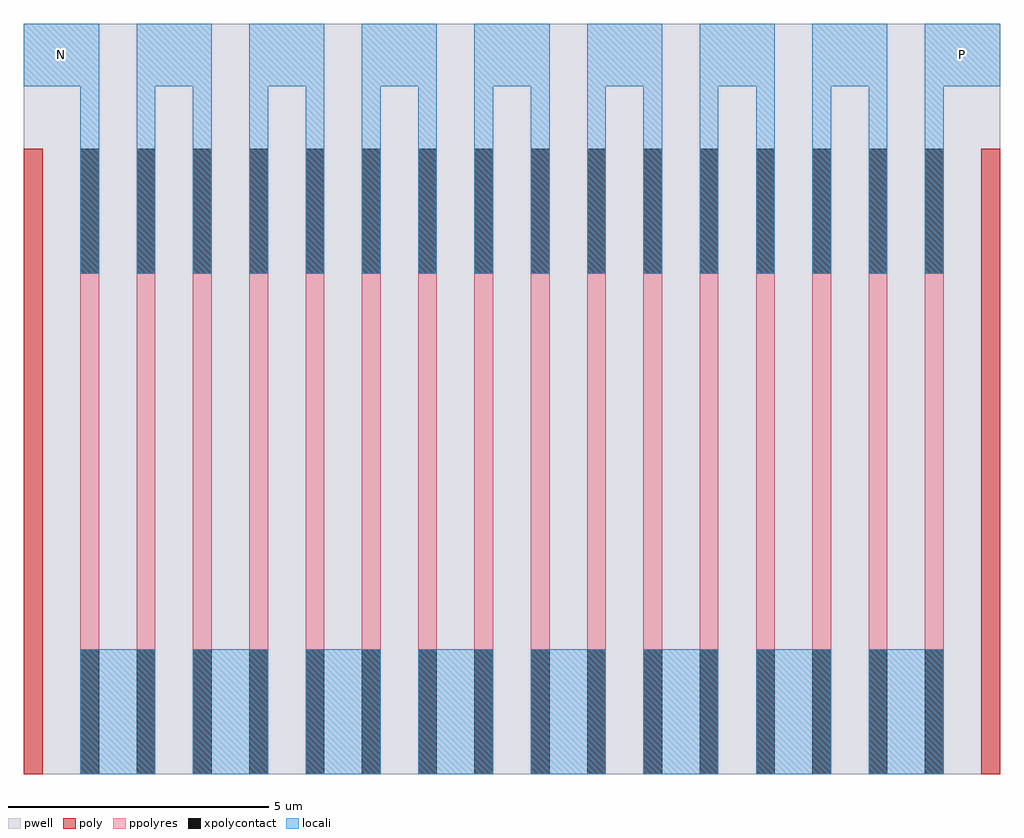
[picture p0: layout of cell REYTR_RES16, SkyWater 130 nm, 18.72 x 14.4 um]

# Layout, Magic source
magic
tech sky130A
magscale 1 2
<< ppolyres >>
rect 180 -120 252 120
rect 396 -120 468 120
rect 612 -120 684 120
rect 828 -120 900 120
rect 1044 -120 1116 120
rect 1260 -120 1332 120
rect 1476 -120 1548 120
rect 1692 -120 1764 120
rect 1908 -120 1980 120
rect 2124 -120 2196 120
rect 2340 -120 2412 120
rect 2556 -120 2628 120
rect 2772 -120 2844 120
rect 2988 -120 3060 120
rect 3204 -120 3276 120
rect 3420 -120 3492 120
rect 180 120 252 360
rect 396 120 468 360
rect 612 120 684 360
rect 828 120 900 360
rect 1044 120 1116 360
rect 1260 120 1332 360
rect 1476 120 1548 360
rect 1692 120 1764 360
rect 1908 120 1980 360
rect 2124 120 2196 360
rect 2340 120 2412 360
rect 2556 120 2628 360
rect 2772 120 2844 360
rect 2988 120 3060 360
rect 3204 120 3276 360
rect 3420 120 3492 360
rect 180 360 252 600
rect 396 360 468 600
rect 612 360 684 600
rect 828 360 900 600
rect 1044 360 1116 600
rect 1260 360 1332 600
rect 1476 360 1548 600
rect 1692 360 1764 600
rect 1908 360 1980 600
rect 2124 360 2196 600
rect 2340 360 2412 600
rect 2556 360 2628 600
rect 2772 360 2844 600
rect 2988 360 3060 600
rect 3204 360 3276 600
rect 3420 360 3492 600
rect 180 600 252 840
rect 396 600 468 840
rect 612 600 684 840
rect 828 600 900 840
rect 1044 600 1116 840
rect 1260 600 1332 840
rect 1476 600 1548 840
rect 1692 600 1764 840
rect 1908 600 1980 840
rect 2124 600 2196 840
rect 2340 600 2412 840
rect 2556 600 2628 840
rect 2772 600 2844 840
rect 2988 600 3060 840
rect 3204 600 3276 840
rect 3420 600 3492 840
rect 180 840 252 1080
rect 396 840 468 1080
rect 612 840 684 1080
rect 828 840 900 1080
rect 1044 840 1116 1080
rect 1260 840 1332 1080
rect 1476 840 1548 1080
rect 1692 840 1764 1080
rect 1908 840 1980 1080
rect 2124 840 2196 1080
rect 2340 840 2412 1080
rect 2556 840 2628 1080
rect 2772 840 2844 1080
rect 2988 840 3060 1080
rect 3204 840 3276 1080
rect 3420 840 3492 1080
rect 180 1080 252 1320
rect 396 1080 468 1320
rect 612 1080 684 1320
rect 828 1080 900 1320
rect 1044 1080 1116 1320
rect 1260 1080 1332 1320
rect 1476 1080 1548 1320
rect 1692 1080 1764 1320
rect 1908 1080 1980 1320
rect 2124 1080 2196 1320
rect 2340 1080 2412 1320
rect 2556 1080 2628 1320
rect 2772 1080 2844 1320
rect 2988 1080 3060 1320
rect 3204 1080 3276 1320
rect 3420 1080 3492 1320
rect 180 1320 252 1560
rect 396 1320 468 1560
rect 612 1320 684 1560
rect 828 1320 900 1560
rect 1044 1320 1116 1560
rect 1260 1320 1332 1560
rect 1476 1320 1548 1560
rect 1692 1320 1764 1560
rect 1908 1320 1980 1560
rect 2124 1320 2196 1560
rect 2340 1320 2412 1560
rect 2556 1320 2628 1560
rect 2772 1320 2844 1560
rect 2988 1320 3060 1560
rect 3204 1320 3276 1560
rect 3420 1320 3492 1560
rect 180 1560 252 1800
rect 396 1560 468 1800
rect 612 1560 684 1800
rect 828 1560 900 1800
rect 1044 1560 1116 1800
rect 1260 1560 1332 1800
rect 1476 1560 1548 1800
rect 1692 1560 1764 1800
rect 1908 1560 1980 1800
rect 2124 1560 2196 1800
rect 2340 1560 2412 1800
rect 2556 1560 2628 1800
rect 2772 1560 2844 1800
rect 2988 1560 3060 1800
rect 3204 1560 3276 1800
rect 3420 1560 3492 1800
rect 180 1800 252 2040
rect 396 1800 468 2040
rect 612 1800 684 2040
rect 828 1800 900 2040
rect 1044 1800 1116 2040
rect 1260 1800 1332 2040
rect 1476 1800 1548 2040
rect 1692 1800 1764 2040
rect 1908 1800 1980 2040
rect 2124 1800 2196 2040
rect 2340 1800 2412 2040
rect 2556 1800 2628 2040
rect 2772 1800 2844 2040
rect 2988 1800 3060 2040
rect 3204 1800 3276 2040
rect 3420 1800 3492 2040
rect 180 2040 252 2280
rect 396 2040 468 2280
rect 612 2040 684 2280
rect 828 2040 900 2280
rect 1044 2040 1116 2280
rect 1260 2040 1332 2280
rect 1476 2040 1548 2280
rect 1692 2040 1764 2280
rect 1908 2040 1980 2280
rect 2124 2040 2196 2280
rect 2340 2040 2412 2280
rect 2556 2040 2628 2280
rect 2772 2040 2844 2280
rect 2988 2040 3060 2280
rect 3204 2040 3276 2280
rect 3420 2040 3492 2280
<< poly >>
rect -36 -120 36 120
rect 3636 -120 3708 120
rect -36 120 36 360
rect 3636 120 3708 360
rect -36 360 36 600
rect 3636 360 3708 600
rect -36 600 36 840
rect 3636 600 3708 840
rect -36 840 36 1080
rect 3636 840 3708 1080
rect -36 1080 36 1320
rect 3636 1080 3708 1320
rect -36 1320 36 1560
rect 3636 1320 3708 1560
rect -36 1560 36 1800
rect 3636 1560 3708 1800
rect -36 1800 36 2040
rect 3636 1800 3708 2040
rect -36 2040 36 2280
rect 3636 2040 3708 2280
<< xpolycontact >>
rect 180 -120 252 120
rect 396 -120 468 120
rect 612 -120 684 120
rect 828 -120 900 120
rect 1044 -120 1116 120
rect 1260 -120 1332 120
rect 1476 -120 1548 120
rect 1692 -120 1764 120
rect 1908 -120 1980 120
rect 2124 -120 2196 120
rect 2340 -120 2412 120
rect 2556 -120 2628 120
rect 2772 -120 2844 120
rect 2988 -120 3060 120
rect 3204 -120 3276 120
rect 3420 -120 3492 120
rect 180 120 252 360
rect 396 120 468 360
rect 612 120 684 360
rect 828 120 900 360
rect 1044 120 1116 360
rect 1260 120 1332 360
rect 1476 120 1548 360
rect 1692 120 1764 360
rect 1908 120 1980 360
rect 2124 120 2196 360
rect 2340 120 2412 360
rect 2556 120 2628 360
rect 2772 120 2844 360
rect 2988 120 3060 360
rect 3204 120 3276 360
rect 3420 120 3492 360
rect 180 1800 252 2040
rect 396 1800 468 2040
rect 612 1800 684 2040
rect 828 1800 900 2040
rect 1044 1800 1116 2040
rect 1260 1800 1332 2040
rect 1476 1800 1548 2040
rect 1692 1800 1764 2040
rect 1908 1800 1980 2040
rect 2124 1800 2196 2040
rect 2340 1800 2412 2040
rect 2556 1800 2628 2040
rect 2772 1800 2844 2040
rect 2988 1800 3060 2040
rect 3204 1800 3276 2040
rect 3420 1800 3492 2040
rect 180 2040 252 2280
rect 396 2040 468 2280
rect 612 2040 684 2280
rect 828 2040 900 2280
rect 1044 2040 1116 2280
rect 1260 2040 1332 2280
rect 1476 2040 1548 2280
rect 1692 2040 1764 2280
rect 1908 2040 1980 2280
rect 2124 2040 2196 2280
rect 2340 2040 2412 2280
rect 2556 2040 2628 2280
rect 2772 2040 2844 2280
rect 2988 2040 3060 2280
rect 3204 2040 3276 2280
rect 3420 2040 3492 2280
<< locali >>
rect 180 -120 468 120
rect 612 -120 900 120
rect 1044 -120 1332 120
rect 1476 -120 1764 120
rect 1908 -120 2196 120
rect 2340 -120 2628 120
rect 2772 -120 3060 120
rect 3204 -120 3492 120
rect 180 120 468 360
rect 612 120 900 360
rect 1044 120 1332 360
rect 1476 120 1764 360
rect 1908 120 2196 360
rect 2340 120 2628 360
rect 2772 120 3060 360
rect 3204 120 3492 360
rect 180 1800 252 2040
rect 396 1800 468 2040
rect 612 1800 684 2040
rect 828 1800 900 2040
rect 1044 1800 1116 2040
rect 1260 1800 1332 2040
rect 1476 1800 1548 2040
rect 1692 1800 1764 2040
rect 1908 1800 1980 2040
rect 2124 1800 2196 2040
rect 2340 1800 2412 2040
rect 2556 1800 2628 2040
rect 2772 1800 2844 2040
rect 2988 1800 3060 2040
rect 3204 1800 3276 2040
rect 3420 1800 3492 2040
rect 180 2040 252 2280
rect 396 2040 468 2280
rect 612 2040 684 2280
rect 828 2040 900 2280
rect 1044 2040 1116 2280
rect 1260 2040 1332 2280
rect 1476 2040 1548 2280
rect 1692 2040 1764 2280
rect 1908 2040 1980 2280
rect 2124 2040 2196 2280
rect 2340 2040 2412 2280
rect 2556 2040 2628 2280
rect 2772 2040 2844 2280
rect 2988 2040 3060 2280
rect 3204 2040 3276 2280
rect 3420 2040 3492 2280
rect 180 2280 252 2520
rect 396 2280 468 2520
rect 612 2280 684 2520
rect 828 2280 900 2520
rect 1044 2280 1116 2520
rect 1260 2280 1332 2520
rect 1476 2280 1548 2520
rect 1692 2280 1764 2520
rect 1908 2280 1980 2520
rect 2124 2280 2196 2520
rect 2340 2280 2412 2520
rect 2556 2280 2628 2520
rect 2772 2280 2844 2520
rect 2988 2280 3060 2520
rect 3204 2280 3276 2520
rect 3420 2280 3492 2520
rect -36 2520 252 2760
rect -36 2520 252 2760
rect 396 2520 684 2760
rect 828 2520 1116 2760
rect 1260 2520 1548 2760
rect 1692 2520 1980 2760
rect 2124 2520 2412 2760
rect 2556 2520 2844 2760
rect 2988 2520 3276 2760
rect 3420 2520 3708 2760
rect 3420 2520 3708 2760
<< pwell >>
rect -36 -120 3708 2760
<< labels >>
flabel locali s -36 2520 252 2760 0 FreeSans 400 0 0 0 N
port 1 nsew signal bidirectional
flabel locali s 3420 2520 3708 2760 0 FreeSans 400 0 0 0 P
port 2 nsew signal bidirectional
<< properties >>
string FIXED_BBOX 0 0 3672 2640
<< end >>
